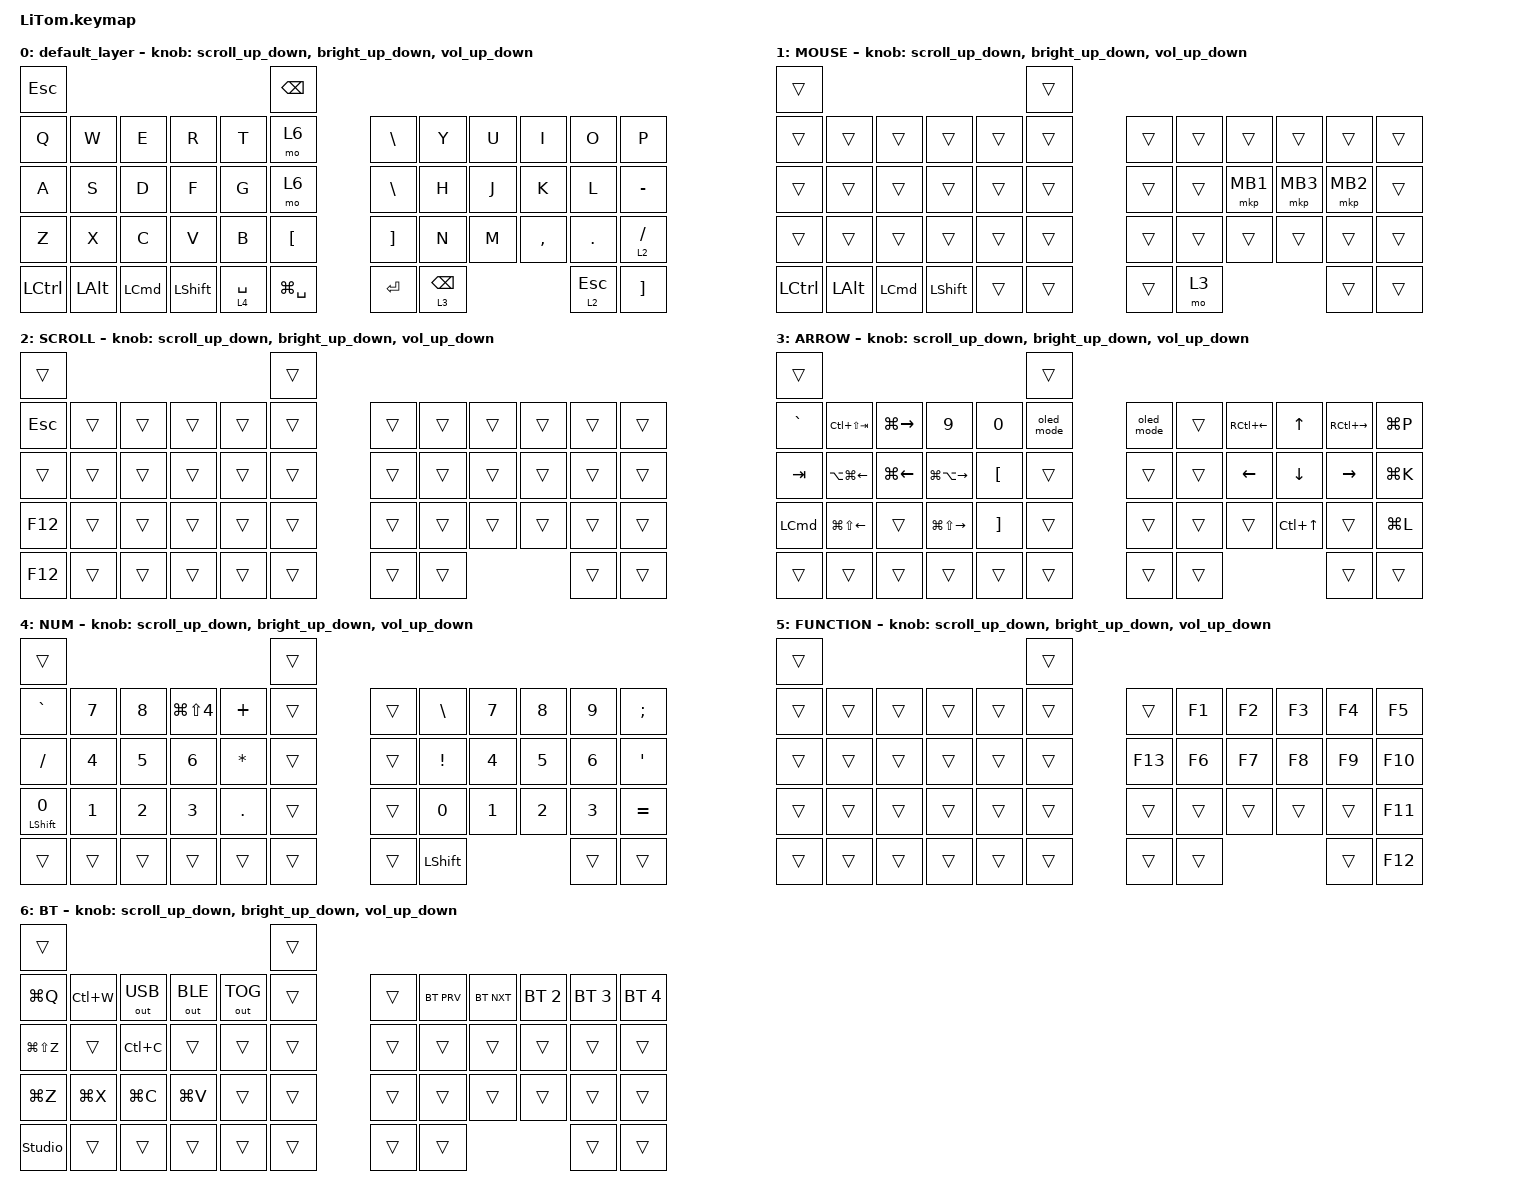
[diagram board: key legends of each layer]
#include <behaviors.dtsi>
#include <dt-bindings/zmk/bt.h>
#include <dt-bindings/zmk/keys.h>
#include <dt-bindings/zmk/outputs.h>
#include <dt-bindings/zmk/pointing.h>
#include <zephyr/dt-bindings/input/input-event-codes.h>
#include <input/processors/runtime-input-processor.dtsi>
#include <behaviors/runtime-input-processor.dtsi>
#include <behaviors/runtime_macro.dtsi>
#include <behaviors/runtime-sensor-rotate.dtsi>

&mouse_runtime_input_processor {
    temp-layer-enabled;
    temp-layer = <1>;
    temp-layer-activation-delay-ms = <0>;
    temp-layer-deactivation-delay-ms = <400>;
};

#undef ZMK_POINTING_DEFAULT_SCRL_VAL
#define ZMK_POINTING_DEFAULT_SCRL_VAL 80

/ {
    behaviors {
        scroll_up_down: behavior_sensor_rotate_mouse_wheel_up_down {
            compatible = "zmk,behavior-runtime-sensor-rotate";
            label = "ENCODER_MSC_DOWN_UP";
            #sensor-binding-cells = <0>;
            cw-binding = <&msc SCRL_DOWN>;
            ccw-binding = <&msc SCRL_UP>;
            tap-ms = <20>;
        };

        tab_slide: behavior_sensor_rotate_tab_slide {
            compatible = "zmk,behavior-runtime-sensor-rotate";
            label = "ENCODER_TAB_SLIDE";
            #sensor-binding-cells = <0>;
            cw-binding = <&kp LA(LG(RIGHT_ARROW))>;
            ccw-binding = <&kp LA(LG(LEFT_ARROW))>;
            tap-ms = <20>;
        };

        bright_up_down: behavior_sensor_rotate_brightness {
            compatible = "zmk,behavior-runtime-sensor-rotate";
            label = "ENCODER_BRIGHTNESS";
            #sensor-binding-cells = <0>;
            cw-binding = <&kp C_BRI_UP>;
            ccw-binding = <&kp C_BRI_DN>;
            tap-ms = <20>;
        };

        vol_up_down: behavior_sensor_rotate_volume {
            compatible = "zmk,behavior-runtime-sensor-rotate";
            label = "ENCODER_VOLUME";
            #sensor-binding-cells = <0>;
            cw-binding = <&kp C_VOL_UP>;
            ccw-binding = <&kp C_VOL_DN>;
            tap-ms = <20>;
        };
    };

    keymap: keymap {
        compatible = "zmk,keymap";

        default_layer {
            bindings = <
&kp ESCAPE                                                                &kp BACKSPACE
&kp Q      &kp W         &kp E             &kp R           &kp T        &mo 6                      &kp BACKSLASH      &kp Y            &kp U     &kp I        &kp O         &kp P
&kp A      &kp S         &kp D             &kp F           &kp G        &mo 6                      &kp BACKSLASH      &kp H            &kp J     &kp K        &kp L         &kp MINUS
&kp Z      &kp X         &kp C             &kp V           &kp B        &kp LEFT_BRACKET           &kp RIGHT_BRACKET  &kp N            &kp M     &kp COMMA    &kp DOT       &lt 2 SLASH
&kp LCTRL  &kp LEFT_ALT  &kp LEFT_COMMAND  &kp LEFT_SHIFT  &lt 4 SPACE  &kp LG(SPACE)              &kp ENTER          &lt 3 BACKSPACE                         &lt 2 ESCAPE  &kp RIGHT_BRACKET
            >;

            sensor-bindings = <
                &scroll_up_down   // ① 左・下側  → スクロール
                &bright_up_down   // ② 左・サイド → 画面輝度
                &vol_up_down      // ③ 右・サイド → 音量
            >;
        };

        MOUSE {
            bindings = <
&trans                                                                                                                       &trans
&trans     &trans        &trans            &trans          &trans  &trans      &trans  &trans  &trans    &trans    &trans    &trans
&trans     &trans        &trans            &trans          &trans  &trans      &trans  &trans  &mkp MB1  &mkp MB3  &mkp MB2  &trans
&trans     &trans        &trans            &trans          &trans  &trans      &trans  &trans  &trans    &trans    &trans    &trans
&kp LCTRL  &kp LEFT_ALT  &kp LEFT_COMMAND  &kp LEFT_SHIFT  &trans  &trans      &trans  &mo 3                       &trans    &trans
            >;

            sensor-bindings = <
                &scroll_up_down   // ① 左・下側  → スクロール
                &bright_up_down   // ② 左・サイド → 画面輝度
                &vol_up_down      // ③ 右・サイド → 音量
            >;
        };

        SCROLL {
            bindings = <
&trans                                                                                          &trans
&kp ESCAPE  &trans  &trans  &trans  &trans  &trans      &trans  &trans  &trans  &trans  &trans  &trans
&trans      &trans  &trans  &trans  &trans  &trans      &trans  &trans  &trans  &trans  &trans  &trans
&kp F12     &trans  &trans  &trans  &trans  &trans      &trans  &trans  &trans  &trans  &trans  &trans
&kp F12     &trans  &trans  &trans  &trans  &trans      &trans  &trans                  &trans  &trans
            >;

            sensor-bindings = <
                &scroll_up_down   // ① 左・下側  → スクロール
                &bright_up_down   // ② 左・サイド → 画面輝度
                &vol_up_down      // ③ 右・サイド → 音量
            >;
        };

        ARROW {
            bindings = <
&trans                                                                                                                                                                                 &trans
&kp GRAVE  &kp LC(LS(TAB))         &kp LG(RIGHT)   &kp NUMBER_9             &kp NUMBER_0       &oled_mode      &oled_mode  &trans  &kp RC(LEFT_ARROW)  &kp UP_ARROW      &kp RC(RIGHT_ARROW)  &kp LG(P)
&kp TAB    &kp LA(LG(LEFT_ARROW))  &kp LG(LEFT)    &kp LG(LA(RIGHT_ARROW))  &kp LEFT_BRACKET   &trans      &trans  &trans  &kp LEFT_ARROW      &kp DOWN_ARROW    &kp RIGHT_ARROW      &kp LG(K)
&kp LCMD   &kp LG(LS(LEFT_ARROW))  &trans          &kp LG(LS(RIGHT_ARROW))  &kp RIGHT_BRACKET  &trans      &trans  &trans  &trans              &kp LC(UP_ARROW)  &trans               &kp LG(L)
&trans     &trans                  &trans          &trans                   &trans             &trans      &trans  &trans                                         &trans               &trans
            >;

            sensor-bindings = <
                &scroll_up_down   // ① 左・下側  → スクロール
                &bright_up_down   // ② 左・サイド → 画面輝度
                &vol_up_down      // ③ 右・サイド → 音量
            >;
        };

        NUM {
            bindings = <
&trans                                                                                                                                                                  &trans
&kp GRAVE                &kp NUMBER_7  &kp NUMBER_8  &kp LG(LS(NUMBER_4))  &kp PLUS      &trans      &trans  &kp BACKSLASH    &kp NUMBER_7  &kp NUMBER_8  &kp NUMBER_9  &kp SEMICOLON
&kp SLASH                &kp NUMBER_4  &kp NUMBER_5  &kp NUMBER_6          &kp ASTERISK  &trans      &trans  &kp EXCLAMATION  &kp NUMBER_4  &kp NUMBER_5  &kp NUMBER_6  &kp SQT
&mt LEFT_SHIFT NUMBER_0  &kp NUMBER_1  &kp NUMBER_2  &kp NUMBER_3          &kp PERIOD    &trans      &trans  &kp NUMBER_0     &kp NUMBER_1  &kp NUMBER_2  &kp NUMBER_3  &kp EQUAL
&trans                   &trans        &trans        &trans                &trans        &trans      &trans  &kp LEFT_SHIFT                               &trans        &trans
            >;

            sensor-bindings = <
                &scroll_up_down   // ① 左・下側  → スクロール
                &bright_up_down   // ② 左・サイド → 画面輝度
                &vol_up_down      // ③ 右・サイド → 音量
            >;
        };

        FUNCTION {
            bindings = <
&trans                                                                                       &trans
&trans  &trans  &trans  &trans  &trans  &trans      &trans  &kp F1  &kp F2  &kp F3  &kp F4  &kp F5
&trans  &trans  &trans  &trans  &trans  &trans      &kp F13  &kp F6  &kp F7  &kp F8  &kp F9  &kp F10
&trans  &trans  &trans  &trans  &trans  &trans      &trans   &trans  &trans  &trans  &trans  &kp F11
&trans  &trans  &trans  &trans  &trans  &trans      &trans   &trans                  &trans  &kp F12
            >;

            sensor-bindings = <
                &scroll_up_down   // ① 左・下側  → スクロール
                &bright_up_down   // ② 左・サイド → 画面輝度
                &vol_up_down      // ③ 右・サイド → 音量
            >;
        };

        BT {
            bindings = <
&trans                                                                                                                                      &trans
&kp LG(Q)      &kp LC(W)  &out OUT_USB  &out OUT_BLE  &out OUT_TOG  &trans      &trans  &bt BT_PRV  &bt BT_NXT  &bt BT_SEL 2  &bt BT_SEL 3  &bt BT_SEL 4
&kp LG(LS(Z))  &trans     &kp LC(C)  &trans     &trans  &trans      &trans  &trans      &trans      &trans        &trans        &trans
&kp LG(Z)      &kp LG(X)  &kp LG(C)  &kp LG(V)  &trans  &trans      &trans  &trans      &trans      &trans        &trans        &trans
&studio_unlock &trans     &trans     &trans     &trans  &trans      &trans  &trans                                &trans        &trans
            >;

            sensor-bindings = <
                &scroll_up_down   // ① 左・下側  → スクロール
                &bright_up_down   // ② 左・サイド → 画面輝度
                &vol_up_down      // ③ 右・サイド → 音量
            >;
        };
    };
};
